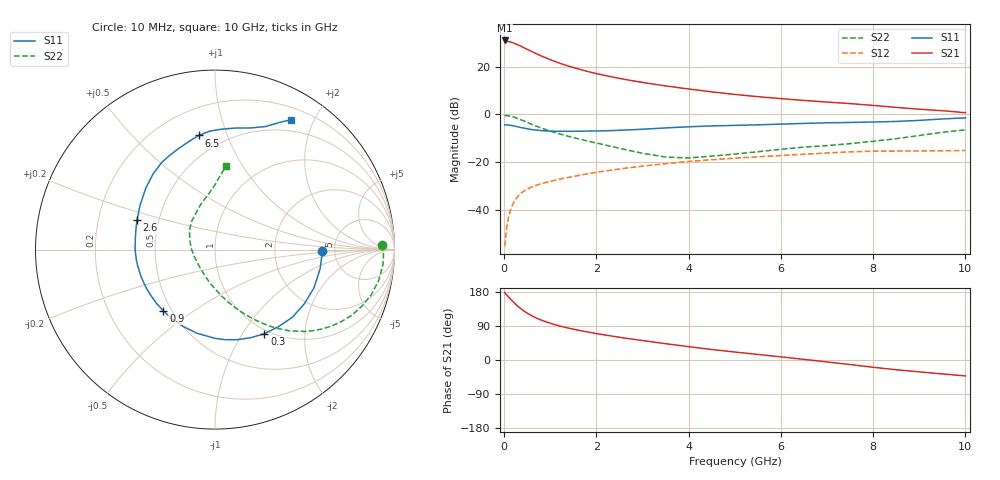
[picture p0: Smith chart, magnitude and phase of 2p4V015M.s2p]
! (c) 2009  Infineon Technologies AG, Munich
! Infineon Technologies  Discrete & RF Semiconductors
! BFP420
! VCE =  4.0 V,  IC =  15 mA
! Common Emitter S-Parameters:  Nov 2009
# GHz  S  MA  R  50
!  f  S11  S21  S12  S22
! GHz  MAG  ANG  MAG  ANG  MAG  ANG  MAG  ANG
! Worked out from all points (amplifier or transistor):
!   46 points, 10 MHz to 10 GHz, reference 50 ohm
!   highest |S21| = 31.0 dB at 10 MHz (marker M1)
!   |S21| within 3 dB of that: start of sweep to 425.1 MHz
!   unconditionally stable (mu >= 1): start of sweep to 17.63 MHz; 2.058 GHz to end of sweep
!   at 300 MHz: K = 0.31, MSG = 31.8 dB, |S12| = -34.4 dB
!   at 1.7 GHz: K = 0.92, MSG = 22.0 dB, |S12| = -25.4 dB
!   at 10 GHz: K = 1.08, MAG = 6.2 dB, |S12| = -15.2 dB
!   lowest NFmin = 1.06 dB at 900 MHz
!   S11 on the Smith chart (normalised r, x): 10 MHz: 3.98, -0.13; 300 MHz: 0.95, -1.26; 900 MHz: 0.45, -0.39; 2.6 GHz: 0.38, +0.16; 6.5 GHz: 0.37, +0.80; 10 GHz: 0.35, +1.69
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0.01  0.599 -1.0  35.35 178.5  0.0017 38.3  0.929 1.6
0.02  0.5959 -4.1  34.29 176.6  0.002 48.6  0.9392 -1.7
0.1  0.5912 -21.2  33.43 165.6  0.0073 71.1  0.9281 -10.7
0.15  0.5821 -31.4  32.47 159.0  0.0106 70.6  0.9066 -16.0
0.2  0.5727 -41.2  31.31 152.9  0.0136 68.5  0.8784 -20.9
0.25  0.5559 -50.6  29.89 146.9  0.0164 66.3  0.8464 -25.5
0.3  0.5435 -59.6  28.57 141.5  0.019 63.7  0.8111 -29.6
0.35  0.5297 -67.9  27.14 136.5  0.0213 61.6  0.7753 -33.4
0.45  0.506 -83.0  24.36 127.6  0.0251 58.0  0.7054 -39.9
0.6  0.4768 -102.0  20.66 116.6  0.0298 54.2  0.6123 -47.6
0.7  0.4635 -112.7  18.59 110.7  0.0323 52.6  0.5604 -51.6
0.9  0.4469 -130.0  15.27 101.0  0.0369 50.6  0.477 -58.1
1.2  0.4386 -149.8  11.84 89.9  0.0432 49.3  0.3866 -66.1
1.7  0.4417 -172.6  8.439 76.4  0.0537 47.8  0.2899 -77.4
2.2  0.4495 170.5  6.469 65.7  0.0645 45.7  0.2247 -88.6
2.6  0.4649 159.1  5.421 58.1  0.0729 43.3  0.1835 -100.0
3.5  0.5155 138.5  3.929 43.0  0.0917 37.0  0.1262 -136.0
5.5  0.5992 109.5  2.337 14.7  0.1278 20.6  0.1631 150.3
6.5  0.6424 98.2  1.948 1.6  0.1446 12.2  0.2039 130.1
7  0.66 92.8  1.802 -5.1  0.1536 7.7  0.2195 121.3
8.5  0.7061 73.7  1.391 -25.7  0.1687 -8.7  0.3067 97.4
10  0.8375 59.7  1.076 -42.1  0.1732 -19.6  0.4701 82.4
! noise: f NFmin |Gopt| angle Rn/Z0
0.9  1.06  0.09  -152  0.13
1.8  1.36  0.18  -147  0.12
2.4  1.49  0.17  -148  0.14
3  1.53  0.25  -138  0.14
4  1.67  0.38  -119  0.2
5  2.14  0.44  -103  0.32
6  2.48  0.5  -88  0.47
